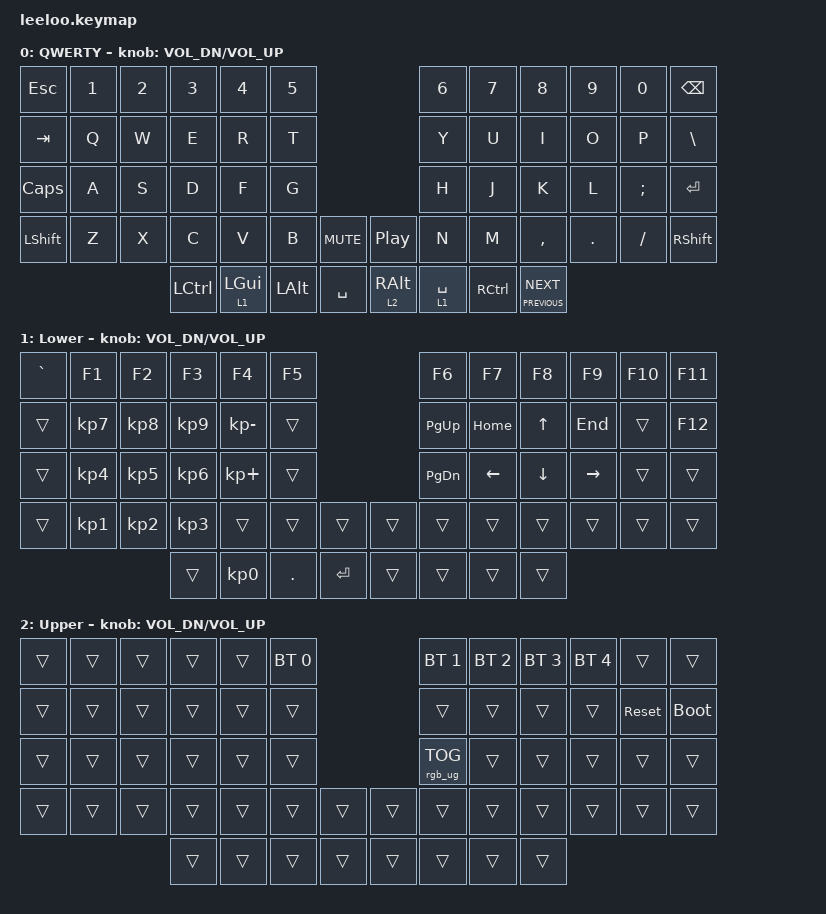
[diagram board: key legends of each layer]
/*
 * Copyright (c) 2023 The ZMK Contributors
 *
 * SPDX-License-Identifier: MIT
 */

#include <behaviors.dtsi>
#include <dt-bindings/zmk/bt.h>
#include <dt-bindings/zmk/keys.h>
#include <dt-bindings/zmk/rgb.h>

// Layers

#define QW_M    0       // Main
#define QW_L    1       // Lower
#define QW_R    2       // Raise
#define QC_F    3       // Firmware

// Short versions

#define WIN_SC  LG(LS(S))
#define BT0     BT_SEL 0
#define BT1     BT_SEL 1
#define BT2     BT_SEL 2
#define BT3     BT_SEL 3
#define BT4     BT_SEL 4
#define BOOTLDR     &bootloader
#define VOLUP   C_VOL_UP
#define VOLDN   C_VOL_DN
#define VOLMT   C_MUTE
#define RGBON   &rgb_ug RGB_ON
#define RGBOFF  &rgb_ug RGB_OFF
#define RGBTOG  &rgb_ug RGB_TOG
#define RGBHUI  &rgb_ug RGB_HUI
#define RGBHUD  &rgb_ug RGB_HUD
#define RGBSAI  &rgb_ug RGB_SAI
#define RGBSAD  &rgb_ug RGB_SAD
#define RGBBRI  &rgb_ug RGB_BRI
#define RGBBRD  &rgb_ug RGB_BRD
#define RGBEFF  &rgb_ug RGB_EFF

/*
 * Assign the cs-gpios pin to 4.
 * Uncomment these next few lines if implementing nice!view Displays
 */

nice_view_spi: &spi0 { cs-gpios = <&pro_micro 4 GPIO_ACTIVE_HIGH>; };

/ {
    conditional_layers {
        compatible = "zmk,conditional-layers";

        adjust_win_layer {
            if-layers = <1 2>;
            then-layer = <3>;
        };
    };

    keymap {
        compatible = "zmk,keymap";

        default_win_layer {
            display-name = " QWERTY";
            bindings = <
&kp ESC    &kp N1  &kp N2  &kp N3     &kp N4          &kp N5                                 &kp N6       &kp N7     &kp N8                 &kp N9   &kp N0    &kp BACKSPACE
&kp TAB    &kp Q   &kp W   &kp E      &kp R           &kp T                                  &kp Y        &kp U      &kp I                  &kp O    &kp P     &kp BACKSLASH
&kp CAPS   &kp A   &kp S   &kp D      &kp F           &kp G                                  &kp H        &kp J      &kp K                  &kp L    &kp SEMI  &kp ENTER
&kp LSHFT  &kp Z   &kp X   &kp C      &kp V           &kp B     &kp C_MUTE  &kp C_PP         &kp N        &kp M      &kp COMMA              &kp DOT  &kp FSLH  &kp RSHFT
                           &kp LCTRL  &lt 1 LEFT_GUI  &kp LALT  &kp SPACE   &lt 2 RIGHT_ALT  &lt 1 SPACE  &kp RCTRL  &mt C_PREVIOUS C_NEXT
            >;

            sensor-bindings = <&inc_dec_kp C_VOL_DN C_VOL_UP>;
        };

        lower_win_layer {
            display-name = " Lower";
            bindings = <
&kp GRAVE  &kp F1           &kp F2           &kp F3           &kp F4           &kp F5                      &kp F6     &kp F7    &kp F8    &kp F9     &kp F10  &kp F11
&trans     &kp KP_NUMBER_7  &kp KP_NUMBER_8  &kp KP_NUMBER_9  &kp KP_SUBTRACT  &trans                      &kp PG_UP  &kp HOME  &kp UP    &kp END    &trans   &kp F12
&trans     &kp KP_NUMBER_4  &kp KP_NUMBER_5  &kp KP_NUMBER_6  &kp KP_PLUS      &trans                      &kp PG_DN  &kp LEFT  &kp DOWN  &kp RIGHT  &trans   &trans
&trans     &kp KP_NUMBER_1  &kp KP_NUMBER_2  &kp KP_NUMBER_3  &trans           &trans   &trans     &trans  &trans     &trans    &trans    &trans     &trans   &trans
                                             &trans           &kp KP_NUMBER_0  &kp DOT  &kp ENTER  &trans  &trans     &trans    &trans
            >;

            sensor-bindings = <&inc_dec_kp C_VOL_DN C_VOL_UP>;
        };

        raise_win_layer {
            display-name = " Upper";
            bindings = <
&trans  &trans  &trans  &trans  &trans  &bt BT_SEL 0                  &bt BT_SEL 1     &bt BT_SEL 2  &bt BT_SEL 3  &bt BT_SEL 4  &trans      &trans
&trans  &trans  &trans  &trans  &trans  &trans                        &trans           &trans        &trans        &trans        &sys_reset  &bootloader
&trans  &trans  &trans  &trans  &trans  &trans                        &rgb_ug RGB_TOG  &trans        &trans        &trans        &trans      &trans
&trans  &trans  &trans  &trans  &trans  &trans        &trans  &trans  &trans           &trans        &trans        &trans        &trans      &trans
                        &trans  &trans  &trans        &trans  &trans  &trans           &trans        &trans
            >;

            sensor-bindings = <&inc_dec_kp C_VOL_DN C_VOL_UP>;
        };
    };
};
